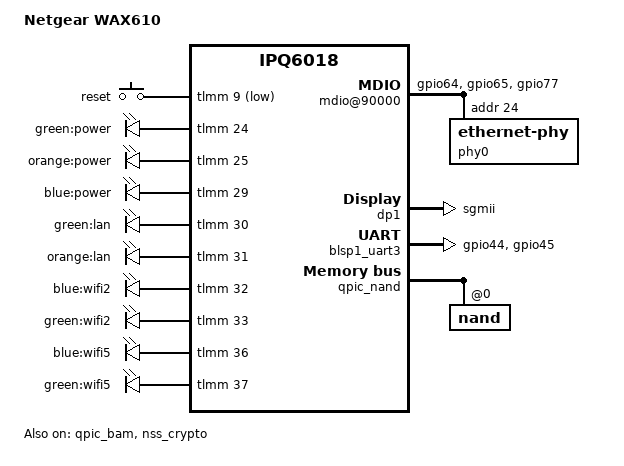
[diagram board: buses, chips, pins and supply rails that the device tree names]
// SPDX-License-Identifier: (GPL-2.0+ OR BSD-3-Clause)
/dts-v1/;

#include "ipq6018.dtsi"
#include "ipq6018-cpr-regulator.dtsi"
#include <dt-bindings/input/input.h>

/ {
	#address-cells = <0x2>;
	#size-cells = <0x2>;
	model = "Netgear WAX610";
	compatible = "netgear,wax610", "qcom,ipq6018-cp03", "qcom,ipq6018";
	interrupt-parent = <&intc>;
	qcom,msm-id = <0x1A5 0x0>;

	aliases {
		/*
		 * Aliases as required by u-boot
		 * to patch MAC addresses
		 */
		ethernet0 = "/soc/dp1";

		led-boot = &led_power_blue;
		led-failsafe = &led_power_orange;
		led-running = &led_power_green;
		led-upgrade = &led_power_blue;
	};

	chosen {
		bootargs = "console=ttyMSM0,115200,n8 rw init=/init";
#ifdef __IPQ_MEM_PROFILE_256_MB__
		bootargs-append = " swiotlb=1";
#else
		bootargs-append = " swiotlb=1 coherent_pool=2M";
#endif
	};

/* TZAPP is enabled only in default memory profile */
#if !defined(__IPQ_MEM_PROFILE_256_MB__) && !defined(__IPQ_MEM_PROFILE_512_MB__)
	reserved-memory {
		tzapp:tzapp@49B00000 {	/* TZAPPS */
			no-map;
			reg = <0x0 0x49B00000 0x0 0x00600000>;
		};
	};
#endif
};

&tlmm {
	uart_pins: uart_pins {
		mux {
			pins = "gpio44", "gpio45";
			function = "blsp2_uart";
			drive-strength = <8>;
			bias-pull-down;
		};
	};

	button_pins: button_pins {
		reset_button {
			pins = "gpio9";
			function = "gpio";
			drive-strength = <8>;
			bias-pull-up;
		};
	};

	mdio_pins: mdio_pinmux {
		mux_0 {
			pins = "gpio64";
			function = "mdc";
			drive-strength = <8>;
			bias-pull-up;
		};
		mux_1 {
			pins = "gpio65";
			function = "mdio";
			drive-strength = <8>;
			bias-pull-up;
		};
		mux_2 {
			pins = "gpio77";
			function = "gpio";
			bias-pull-up;
		};
	};

	leds_pins: leds_pins {
		led_power_green {
			pins = "gpio24";
			function = "gpio";
			drive-strength = <8>;
			bias-pull-down;
		};
		led_power_orange {
			pins = "gpio25";
			function = "gpio";
			drive-strength = <8>;
			bias-pull-down;
		};
		led_power_blue {
			pins = "gpio29";
			function = "gpio";
			drive-strength = <8>;
			bias-pull-down;
		};
		led_lan_green {
			pins = "gpio30";
			function = "gpio";
			drive-strength = <8>;
			bias-pull-down;
		};
		led_lan_orange {
			pins = "gpio31";
			function = "gpio";
			drive-strength = <8>;
			bias-pull-down;
		};
		led_wifi2_blue {
			pins = "gpio32";
			function = "gpio";
			drive-strength = <8>;
			bias-pull-down;
		};
		led_wifi2_green {
			pins = "gpio33";
			function = "gpio";
			drive-strength = <8>;
			bias-pull-down;
		};
		led_wifi5_blue {
			pins = "gpio36";
			function = "gpio";
			drive-strength = <8>;
			bias-pull-down;
		};
		led_wifi5_green {
			pins = "gpio37";
			function = "gpio";
			drive-strength = <8>;
			bias-pull-down;
		};
	};
};

&soc {
	mdio@90000 {
		pinctrl-0 = <&mdio_pins>;
		pinctrl-names = "default";
		phy-reset-gpio = <&tlmm 77 1>;
		status = "ok";
		phy0: ethernet-phy@0 {
			reg = <0x18>;
		};
	};

	ess-switch@3a000000 {
		switch_cpu_bmp = <0x1>;  /* cpu port bitmap */
		switch_lan_bmp = <0x1e>; /* lan port bitmap */
		switch_wan_bmp = <0x20>; /* wan port bitmap */
		switch_inner_bmp = <0xc0>; /*inner port bitmap*/
		switch_mac_mode = <0x0>; /* mac mode for uniphy instance0*/
		switch_mac_mode1 = <0xf>; /* mac mode for uniphy instance1*/
		switch_mac_mode2 = <0xff>; /* mac mode for uniphy instance2*/
		qcom,port_phyinfo {
			port@0 {
				port_id = <5>;
				phy_address = <0x18>;
				port_mac_sel = "QGMAC_PORT";
			};
		};
	};

	dp1 {
		device_type = "network";
		compatible = "qcom,nss-dp";
		qcom,id = <5>;
		reg = <0x3a001800 0x200>;
		qcom,mactype = <0>;
		local-mac-address = [000000000000];
		qcom,link-poll = <1>;
		qcom,phy-mdio-addr = <0x18>;
		phy-mode = "sgmii";
	};

	gpio_keys {
		compatible = "gpio-keys";
		pinctrl-0 = <&button_pins>;
		pinctrl-names = "default";

		reset {
			label = "reset";
			linux,code = <KEY_RESTART>;
			gpios = <&tlmm 9 GPIO_ACTIVE_LOW>;
			linux,input-type = <1>;
			debounce-interval = <60>;
		};
	};

	leds {
		compatible = "gpio-leds";
		pinctrl-0 = <&leds_pins>;
		pinctrl-names = "default";

		led_power_green: led@24 {
			label = "green:power";
			gpios = <&tlmm 24 GPIO_ACTIVE_HIGH>;
			default-state = "off";
		};
		led_power_orange: led@25 {
			label = "orange:power";
			gpios = <&tlmm 25 GPIO_ACTIVE_HIGH>;
			default-state = "off";
		};
		led_power_blue: led@29 {
			label = "blue:power";
			gpios = <&tlmm 29 GPIO_ACTIVE_HIGH>;
			default-state = "off";
		};
		led@30 {
			label = "green:lan";
			gpios = <&tlmm 30 GPIO_ACTIVE_HIGH>;
			default-state = "off";
		};
		led@31 {
			label = "orange:lan";
			gpios = <&tlmm 31 GPIO_ACTIVE_HIGH>;
			default-state = "off";
		};
		led@32 {
			label = "blue:wifi2";
			gpios = <&tlmm 32 GPIO_ACTIVE_HIGH>;
			default-state = "off";
		};
		led@33 {
			label = "green:wifi2";
			gpios = <&tlmm 33 GPIO_ACTIVE_HIGH>;
			default-state = "off";
		};
		led@36 {
			label = "blue:wifi5";
			gpios = <&tlmm 36 GPIO_ACTIVE_HIGH>;
			default-state = "off";
		};
		led@37 {
			label = "green:wifi5";
			gpios = <&tlmm 37 GPIO_ACTIVE_HIGH>;
			default-state = "off";
		};
	};
};

&blsp1_uart3 {
	pinctrl-0 = <&uart_pins>;
	pinctrl-names = "default";
	status = "ok";
};

&qpic_bam {
	status = "ok";
};

&qpic_nand {
	status = "ok";

	nand@0 {
		reg = <0>;
		#address-cells = <1>;
		#size-cells = <1>;

		nand-ecc-strength = <4>;
		nand-ecc-step-size = <512>;
		nand-bus-width = <8>;
	};
};

&nss_crypto {
	status = "ok";
};
